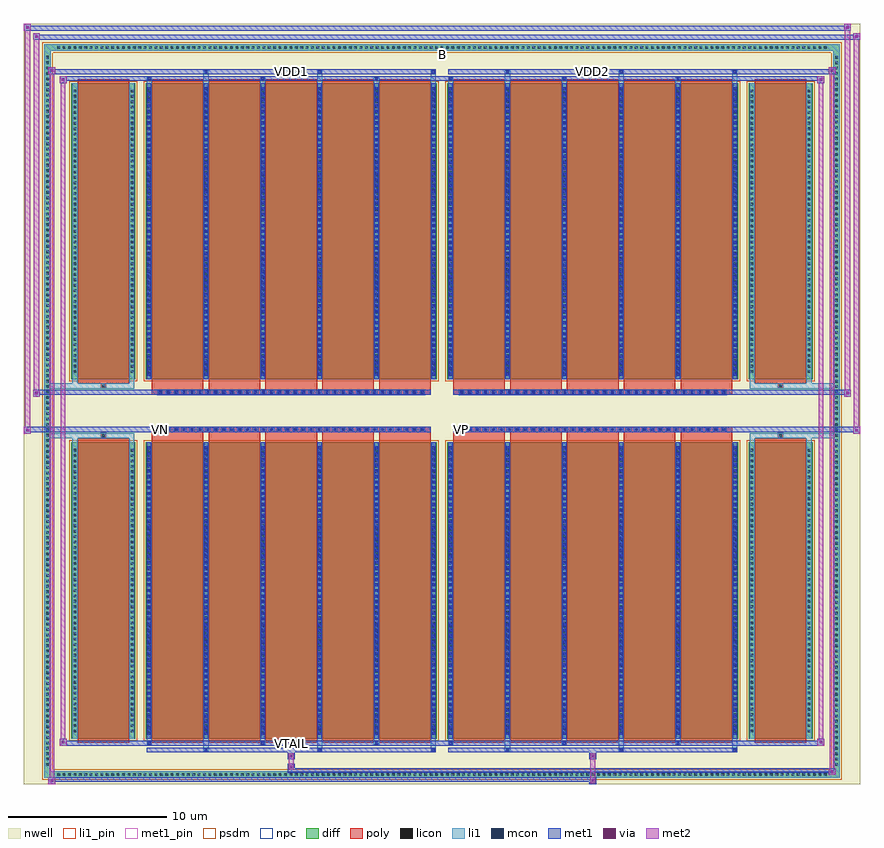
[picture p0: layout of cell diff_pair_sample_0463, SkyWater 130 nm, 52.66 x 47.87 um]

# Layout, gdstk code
import gdstk
lib = gdstk.Library(unit=1e-6, precision=5e-09)
def R(c, l, rs):  # rectangles x0, y0, x1, y1
    for r in rs: c.add(gdstk.rectangle(r[:2], r[2:], *l))
def A(c, l, x, y, w, h, nx, ny, dx, dy):  # array of equal rectangles
    R(c, l, [(x+i*dx, y+j*dy, x+i*dx+w, y+j*dy+h) for i in range(nx) for j in range(ny)])
def P(c, l, *ps):  # polygons
    for p in ps: c.add(gdstk.Polygon(p, *l))
nwell = (64, 20)
diff = (65, 20)
poly = (66, 20)
licon = (66, 44)
li1_pin = (67, 16)
li1 = (67, 20)
mcon = (67, 44)
met1_pin = (68, 16)
met1 = (68, 20)
via = (68, 44)
met2 = (69, 20)
psdm = (94, 20)
npc = (95, 20)

diff_pair_sample_0463 = lib.new_cell('diff_pair_sample_0463')
R(diff_pair_sample_0463, nwell, [(-26.33,-23.5,26.33,24.37), (-23.65,-21.69,-0.01,-0.805), (0.01,-21.69,23.65,-0.805), (-23.65,0.805,-0.01,21.69), (0.01,0.805,23.65,21.69)])
A(diff_pair_sample_0463, diff, -24.345, -23.1, 0.41, 0.41, 143, 2, 0.34, 45.79)
A(diff_pair_sample_0463, diff, -25.06, -22.475, 0.41, 0.41, 1, 132, 0, 0.34)
A(diff_pair_sample_0463, diff, 24.65, -22.475, 0.41, 0.41, 1, 132, 0, 0.34)
R(diff_pair_sample_0463, diff, [(-24.345,-23.1,24.345,-22.69), (-25.06,-22.475,-24.65,22.475), (24.65,-22.475,25.06,22.475), (-23.34,-20.645,-19.31,-1.985), (-18.67,-20.645,-0.32,-1.985), (0.32,-20.645,18.67,-1.985), (19.31,-20.645,23.34,-1.985), (-23.34,1.985,-19.31,20.645), (-18.67,1.985,-0.32,20.645), (0.32,1.985,18.67,20.645), (19.31,1.985,23.34,20.645), (-24.345,22.69,24.345,23.1)])
P(diff_pair_sample_0463, diff, [(25.06,23.1),(-25.06,23.1),(-25.06,-22.69),(-24.65,-22.69),(-24.65,22.69),(24.65,22.69),(24.65,-22.69),(-24.65,-22.69),(-25.06,-22.69),(-25.06,-23.1),(25.06,-23.1)])
A(diff_pair_sample_0463, poly, -18.28, -20.895, 3.25, 19.16, 5, 2, 3.58, 22.63)
A(diff_pair_sample_0463, poly, 0.71, -20.895, 3.25, 19.16, 5, 2, 3.58, 22.63)
A(diff_pair_sample_0463, poly, -18.28, -1.735, 3.25, 0.4, 5, 2, 3.58, 3.07)
A(diff_pair_sample_0463, poly, 0.71, -1.735, 3.25, 0.4, 5, 2, 3.58, 3.07)
A(diff_pair_sample_0463, poly, -17.91, -1.335, 0.33, 0.33, 34, 2, 0.5, 2.34)
A(diff_pair_sample_0463, poly, 1.08, -1.335, 0.33, 0.33, 34, 2, 0.5, 2.34)
R(diff_pair_sample_0463, poly, [(-22.95,-20.895,-19.7,-1.735), (19.7,-20.895,22.95,-1.735), (-21.49,-1.735,-21.16,-1.405), (-21.49,-1.735,-21.16,-1.405), (21.16,-1.735,21.49,-1.405), (21.16,-1.735,21.49,-1.405), (-18.28,-1.335,-0.71,-1.005), (0.71,-1.335,18.28,-1.005), (-18.28,1.005,-0.71,1.335), (0.71,1.005,18.28,1.335), (-21.49,1.405,-21.16,1.735), (-21.49,1.405,-21.16,1.735), (21.16,1.405,21.49,1.735), (21.16,1.405,21.49,1.735), (-22.95,1.735,-19.7,20.895), (19.7,1.735,22.95,20.895)])
A(diff_pair_sample_0463, licon, -24.225, -22.98, 0.17, 0.17, 143, 2, 0.34, 45.79)
A(diff_pair_sample_0463, licon, -24.94, -22.355, 0.17, 0.17, 1, 132, 0, 0.34)
A(diff_pair_sample_0463, licon, 24.77, -22.355, 0.17, 0.17, 1, 132, 0, 0.34)
A(diff_pair_sample_0463, licon, -23.2, -20.24, 0.17, 0.17, 1, 53, 0, 0.34)
A(diff_pair_sample_0463, licon, -19.62, -20.24, 0.17, 0.17, 1, 53, 0, 0.34)
A(diff_pair_sample_0463, licon, -18.53, -20.24, 0.17, 0.17, 6, 53, 3.58, 0.34)
A(diff_pair_sample_0463, licon, 0.46, -20.24, 0.17, 0.17, 6, 53, 3.58, 0.34)
A(diff_pair_sample_0463, licon, 19.45, -20.24, 0.17, 0.17, 1, 53, 0, 0.34)
A(diff_pair_sample_0463, licon, 23.03, -20.24, 0.17, 0.17, 1, 53, 0, 0.34)
A(diff_pair_sample_0463, licon, -17.83, -1.255, 0.17, 0.17, 34, 2, 0.5, 2.34)
A(diff_pair_sample_0463, licon, 1.16, -1.255, 0.17, 0.17, 34, 2, 0.5, 2.34)
A(diff_pair_sample_0463, licon, -23.2, 2.39, 0.17, 0.17, 1, 53, 0, 0.34)
A(diff_pair_sample_0463, licon, -19.62, 2.39, 0.17, 0.17, 1, 53, 0, 0.34)
A(diff_pair_sample_0463, licon, -18.53, 2.39, 0.17, 0.17, 6, 53, 3.58, 0.34)
A(diff_pair_sample_0463, licon, 0.46, 2.39, 0.17, 0.17, 6, 53, 3.58, 0.34)
A(diff_pair_sample_0463, licon, 19.45, 2.39, 0.17, 0.17, 1, 53, 0, 0.34)
A(diff_pair_sample_0463, licon, 23.03, 2.39, 0.17, 0.17, 1, 53, 0, 0.34)
R(diff_pair_sample_0463, licon, [(-21.41,-1.655,-21.24,-1.485), (21.24,-1.655,21.41,-1.485), (-21.41,1.485,-21.24,1.655), (21.24,1.485,21.41,1.655)])
R(diff_pair_sample_0463, li1_pin, [(-0.25,22.19,0.25,22.69)])
A(diff_pair_sample_0463, li1, -24.305, -23.06, 0.33, 0.33, 143, 2, 0.34, 45.79)
A(diff_pair_sample_0463, li1, -25.02, -22.435, 0.33, 0.33, 1, 132, 0, 0.34)
A(diff_pair_sample_0463, li1, 24.69, -22.435, 0.33, 0.33, 1, 132, 0, 0.34)
A(diff_pair_sample_0463, li1, -15.03, -21.45, 0.33, 0.805, 3, 2, 7.16, 42.095)
A(diff_pair_sample_0463, li1, -14.95, -21.45, 0.17, 0.17, 3, 2, 7.16, 42.73)
A(diff_pair_sample_0463, li1, 3.96, -21.45, 0.33, 0.805, 3, 2, 7.16, 42.095)
A(diff_pair_sample_0463, li1, 4.04, -21.45, 0.17, 0.17, 3, 2, 7.16, 42.73)
A(diff_pair_sample_0463, li1, -18.61, -21.02, 0.33, 0.375, 3, 2, 7.16, 41.665)
A(diff_pair_sample_0463, li1, -18.53, -21.02, 0.17, 0.17, 3, 2, 7.16, 41.87)
A(diff_pair_sample_0463, li1, 0.38, -21.02, 0.33, 0.375, 3, 2, 7.16, 41.665)
A(diff_pair_sample_0463, li1, 0.46, -21.02, 0.17, 0.17, 3, 2, 7.16, 41.87)
A(diff_pair_sample_0463, li1, -18.61, -20.645, 0.33, 18.66, 6, 2, 3.58, 22.63)
A(diff_pair_sample_0463, li1, 0.38, -20.645, 0.33, 18.66, 6, 2, 3.58, 22.63)
A(diff_pair_sample_0463, li1, -18.53, -20.4, 0.17, 0.17, 6, 51, 3.58, 0.36)
A(diff_pair_sample_0463, li1, -18.53, -20.4, 0.17, 18.17, 6, 2, 3.58, 22.63)
A(diff_pair_sample_0463, li1, 0.46, -20.4, 0.17, 0.17, 6, 51, 3.58, 0.36)
A(diff_pair_sample_0463, li1, 0.46, -20.4, 0.17, 18.17, 6, 2, 3.58, 22.63)
A(diff_pair_sample_0463, li1, -23.28, -20.32, 0.33, 0.33, 1, 53, 0, 0.34)
A(diff_pair_sample_0463, li1, -19.7, -20.32, 0.33, 0.33, 1, 53, 0, 0.34)
A(diff_pair_sample_0463, li1, -18.61, -20.32, 0.33, 0.33, 6, 53, 3.58, 0.34)
A(diff_pair_sample_0463, li1, 0.38, -20.32, 0.33, 0.33, 6, 53, 3.58, 0.34)
A(diff_pair_sample_0463, li1, 19.37, -20.32, 0.33, 0.33, 1, 53, 0, 0.34)
A(diff_pair_sample_0463, li1, 22.95, -20.32, 0.33, 0.33, 1, 53, 0, 0.34)
A(diff_pair_sample_0463, li1, -17.91, -1.335, 0.33, 0.33, 34, 2, 0.5, 2.34)
A(diff_pair_sample_0463, li1, 1.08, -1.335, 0.33, 0.33, 34, 2, 0.5, 2.34)
A(diff_pair_sample_0463, li1, -18.53, 2.23, 0.17, 0.17, 6, 51, 3.58, 0.36)
A(diff_pair_sample_0463, li1, 0.46, 2.23, 0.17, 0.17, 6, 51, 3.58, 0.36)
A(diff_pair_sample_0463, li1, -23.28, 2.31, 0.33, 0.33, 1, 53, 0, 0.34)
A(diff_pair_sample_0463, li1, -19.7, 2.31, 0.33, 0.33, 1, 53, 0, 0.34)
A(diff_pair_sample_0463, li1, -18.61, 2.31, 0.33, 0.33, 6, 53, 3.58, 0.34)
A(diff_pair_sample_0463, li1, 0.38, 2.31, 0.33, 0.33, 6, 53, 3.58, 0.34)
A(diff_pair_sample_0463, li1, 19.37, 2.31, 0.33, 0.33, 1, 53, 0, 0.34)
A(diff_pair_sample_0463, li1, 22.95, 2.31, 0.33, 0.33, 1, 53, 0, 0.34)
R(diff_pair_sample_0463, li1, [(-25.06,-23.1,-24.65,-22.69), (-25.06,-23.1,-24.65,-22.69), (-24.65,-23.1,24.65,-22.69), (24.65,-23.1,25.06,-22.69), (24.65,-23.1,25.06,-22.69), (-25.06,-22.69,-24.65,22.69), (24.65,-22.69,25.06,22.69), (-23.28,-20.645,-22.95,-1.985), (-19.7,-20.645,-19.37,-1.985), (19.37,-20.645,19.7,-1.985), (22.95,-20.645,23.28,-1.985), (-23.28,-1.985,-22.95,-1.405), (-19.7,-1.985,-19.37,-1.405), (19.37,-1.985,19.7,-1.405), (22.95,-1.985,23.28,-1.405), (-25.06,-1.735,-21.49,-1.405), (-23.28,-1.735,-21.49,-1.405), (-21.49,-1.735,-21.16,-1.405), (-21.16,-1.735,-19.37,-1.405), (19.37,-1.735,21.16,-1.405), (21.16,-1.735,21.49,-1.405), (21.16,-1.735,25.06,-1.405), (21.49,-1.735,23.28,-1.405), (-25.06,1.405,-21.49,1.735), (-23.28,1.405,-21.49,1.735), (-23.28,1.405,-22.95,1.985), (-21.49,1.405,-21.16,1.735), (-21.16,1.405,-19.37,1.735), (-19.7,1.405,-19.37,1.985), (19.37,1.405,21.16,1.735), (19.37,1.405,19.7,1.985), (21.16,1.405,21.49,1.735), (21.16,1.405,25.06,1.735), (21.49,1.405,23.28,1.735), (22.95,1.405,23.28,1.985), (-23.28,1.985,-22.95,20.645), (-19.7,1.985,-19.37,20.645), (19.37,1.985,19.7,20.645), (22.95,1.985,23.28,20.645), (-25.06,22.69,-24.65,23.1), (-25.06,22.69,-24.65,23.1), (-24.65,22.69,24.65,23.1), (24.65,22.69,25.06,23.1), (24.65,22.69,25.06,23.1)])
A(diff_pair_sample_0463, mcon, -14.95, -21.45, 0.17, 0.17, 3, 2, 7.16, 42.73)
A(diff_pair_sample_0463, mcon, 4.04, -21.45, 0.17, 0.17, 3, 2, 7.16, 42.73)
A(diff_pair_sample_0463, mcon, -18.53, -21.02, 0.17, 0.17, 3, 2, 7.16, 41.87)
A(diff_pair_sample_0463, mcon, 0.46, -21.02, 0.17, 0.17, 3, 2, 7.16, 41.87)
A(diff_pair_sample_0463, mcon, -18.53, -20.4, 0.17, 0.17, 6, 51, 3.58, 0.36)
A(diff_pair_sample_0463, mcon, 0.46, -20.4, 0.17, 0.17, 6, 51, 3.58, 0.36)
A(diff_pair_sample_0463, mcon, -17.83, -1.255, 0.17, 0.17, 34, 2, 0.5, 2.34)
A(diff_pair_sample_0463, mcon, 1.16, -1.255, 0.17, 0.17, 34, 2, 0.5, 2.34)
A(diff_pair_sample_0463, mcon, -18.53, 2.23, 0.17, 0.17, 6, 51, 3.58, 0.36)
A(diff_pair_sample_0463, mcon, 0.46, 2.23, 0.17, 0.17, 6, 51, 3.58, 0.36)
R(diff_pair_sample_0463, met1_pin, [(-9.63,-21.06,-9.36,-20.79), (-17.88,-1.295,-17.61,-1.025), (1.11,-1.295,1.38,-1.025), (-9.63,21.24,-9.36,21.51), (9.36,21.24,9.63,21.51)])
A(diff_pair_sample_0463, met1, -15.01, -21.51, 0.29, 0.29, 3, 2, 7.16, 42.73)
A(diff_pair_sample_0463, met1, 3.98, -21.51, 0.29, 0.29, 3, 2, 7.16, 42.73)
A(diff_pair_sample_0463, met1, -18.59, -21.08, 0.29, 0.29, 3, 2, 7.16, 41.87)
A(diff_pair_sample_0463, met1, 0.4, -21.08, 0.29, 0.29, 3, 2, 7.16, 41.87)
A(diff_pair_sample_0463, met1, -18.59, -20.645, 0.29, 18.66, 6, 2, 3.58, 22.63)
A(diff_pair_sample_0463, met1, 0.4, -20.645, 0.29, 18.66, 6, 2, 3.58, 22.63)
A(diff_pair_sample_0463, met1, -18.59, -20.46, 0.29, 0.29, 6, 51, 3.58, 0.36)
A(diff_pair_sample_0463, met1, 0.4, -20.46, 0.29, 0.29, 6, 51, 3.58, 0.36)
A(diff_pair_sample_0463, met1, -17.89, -1.315, 0.29, 0.29, 34, 2, 0.5, 2.34)
A(diff_pair_sample_0463, met1, 1.1, -1.315, 0.29, 0.29, 34, 2, 0.5, 2.34)
A(diff_pair_sample_0463, met1, -18.59, 2.17, 0.29, 0.29, 6, 51, 3.58, 0.36)
A(diff_pair_sample_0463, met1, 0.4, 2.17, 0.29, 0.29, 6, 51, 3.58, 0.36)
R(diff_pair_sample_0463, met1, [(-24.79,-23.5,-24.36,-23.07), (9.28,-23.5,9.71,-23.07), (-24.79,-23.36,9.71,-23.07), (24.36,-22.93,24.79,-22.5), (-9.71,-22.79,24.79,-22.5), (-9.71,-22.65,-9.28,-22.22), (-9.71,-21.94,-9.28,-21.51), (9.28,-21.94,9.71,-21.51), (-18.59,-21.51,-0.4,-21.22), (0.4,-21.51,18.59,-21.22), (-24.08,-21.08,-23.65,-20.65), (-24.08,-21.08,-18.59,-20.79), (-18.59,-21.08,-0.4,-20.79), (-0.4,-21.08,0.4,-20.79), (0.4,-21.08,18.59,-20.79), (18.59,-21.08,24.08,-20.79), (23.65,-21.08,24.08,-20.65), (-26.33,-1.435,-25.9,-1.005), (25.9,-1.435,26.33,-1.005), (-26.33,-1.335,-0.71,-1.005), (-18.28,-1.335,-0.71,-1.005), (0.71,-1.335,18.28,-1.005), (0.71,-1.335,26.33,-1.005), (-25.76,0.905,-25.33,1.335), (25.33,0.905,25.76,1.335), (-25.76,1.005,-18.28,1.335), (-18.28,1.005,-0.71,1.335), (0.71,1.005,18.28,1.335), (18.28,1.005,25.76,1.335), (-24.08,20.65,-23.65,21.08), (23.65,20.65,24.08,21.08), (-24.08,20.79,-18.59,21.08), (-18.59,20.79,-0.4,21.08), (-0.4,20.79,0.4,21.08), (0.4,20.79,18.59,21.08), (18.59,20.79,24.08,21.08), (-24.79,21.22,-24.36,21.65), (-24.79,21.22,-18.59,21.51), (-18.59,21.22,-0.4,21.51), (0.4,21.22,18.59,21.51), (18.59,21.22,24.79,21.51), (24.36,21.22,24.79,21.65), (-25.76,23.37,-25.33,23.8), (-25.76,23.37,-23.65,23.7), (-23.65,23.37,23.65,23.7), (23.65,23.37,26.33,23.7), (25.9,23.37,26.33,23.8), (-26.33,23.94,-25.9,24.37), (-26.33,23.94,-23.65,24.27), (-23.65,23.94,23.65,24.27), (23.65,23.94,25.76,24.27), (25.33,23.94,25.76,24.37)])
R(diff_pair_sample_0463, via, [(-24.65,-23.36,-24.5,-23.21), (9.42,-23.36,9.57,-23.21), (24.5,-22.79,24.65,-22.64), (-9.57,-22.51,-9.42,-22.36), (-9.57,-21.8,-9.42,-21.65), (9.42,-21.8,9.57,-21.65), (-23.94,-20.94,-23.79,-20.79), (23.79,-20.94,23.94,-20.79), (-26.19,-1.295,-26.04,-1.145), (26.04,-1.295,26.19,-1.145), (-25.62,1.045,-25.47,1.195), (25.47,1.045,25.62,1.195), (-23.94,20.79,-23.79,20.94), (23.79,20.79,23.94,20.94), (-24.65,21.36,-24.5,21.51), (24.5,21.36,24.65,21.51), (-25.62,23.51,-25.47,23.66), (26.04,23.51,26.19,23.66), (-26.19,24.08,-26.04,24.23), (25.47,24.08,25.62,24.23)])
R(diff_pair_sample_0463, met2, [(-24.79,-23.5,-24.36,-23.07), (-24.72,-23.5,-24.43,21.65), (-24.43,-23.5,-24.36,-23.07), (-24.74,-23.45,-24.41,-23.12), (9.33,-23.45,9.66,-23.12), (9.33,-23.12,9.66,-21.89), (24.36,-22.93,24.79,-22.5), (24.43,-22.93,24.72,21.65), (24.72,-22.93,24.79,-22.5), (24.41,-22.88,24.74,-22.55), (-9.66,-22.6,-9.33,-22.27), (-9.66,-22.27,-9.33,-21.89), (-9.66,-21.89,-9.33,-21.56), (9.33,-21.89,9.66,-21.56), (-24.08,-21.08,-23.65,-20.65), (-24.01,-21.08,-23.72,21.08), (-23.72,-21.08,-23.65,-20.65), (23.65,-21.08,24.08,-20.65), (23.72,-21.08,24.01,21.08), (24.01,-21.08,24.08,-20.65), (-24.03,-21.03,-23.7,-20.7), (23.7,-21.03,24.03,-20.7), (-26.33,-1.435,-25.9,-1.005), (-26.28,-1.435,-25.95,24.37), (-25.95,-1.435,-25.9,-1.005), (25.9,-1.435,26.33,-1.005), (25.95,-1.435,26.28,23.8), (26.28,-1.435,26.33,-1.005), (-26.28,-1.385,-25.95,-1.055), (25.95,-1.385,26.28,-1.055), (-25.76,0.905,-25.33,1.335), (-25.71,0.905,-25.38,23.8), (-25.38,0.905,-25.33,1.335), (25.33,0.905,25.76,1.335), (25.38,0.905,25.71,24.37), (25.71,0.905,25.76,1.335), (-25.71,0.955,-25.38,1.285), (25.38,0.955,25.71,1.285), (-24.08,20.65,-23.65,21.08), (-23.72,20.65,-23.65,21.08), (23.65,20.65,24.08,21.08), (24.01,20.65,24.08,21.08), (-24.03,20.7,-23.7,21.03), (23.7,20.7,24.03,21.03), (-24.79,21.22,-24.36,21.65), (-24.43,21.22,-24.36,21.65), (24.36,21.22,24.79,21.65), (24.72,21.22,24.79,21.65), (-24.74,21.27,-24.41,21.6), (24.41,21.27,24.74,21.6), (-25.76,23.37,-25.33,23.8), (-25.38,23.37,-25.33,23.8), (25.9,23.37,26.33,23.8), (26.28,23.37,26.33,23.8), (-25.71,23.42,-25.38,23.75), (25.95,23.42,26.28,23.75), (-26.33,23.94,-25.9,24.37), (-25.95,23.94,-25.9,24.37), (25.33,23.94,25.76,24.37), (25.71,23.94,25.76,24.37), (-26.28,23.99,-25.95,24.32), (25.38,23.99,25.71,24.32)])
R(diff_pair_sample_0463, psdm, [(-23.47,-20.775,-19.18,-1.855), (-18.8,-20.775,-0.19,-1.855), (0.19,-20.775,18.8,-1.855), (19.18,-20.775,23.47,-1.855), (-23.47,1.855,-19.18,20.775), (-18.8,1.855,-0.19,20.775), (0.19,1.855,18.8,20.775), (19.18,1.855,23.47,20.775)])
P(diff_pair_sample_0463, psdm, [(25.19,23.23),(-25.19,23.23),(-25.19,-22.56),(-24.52,-22.56),(-24.52,22.56),(24.52,22.56),(24.52,-22.56),(-24.52,-22.56),(-25.19,-22.56),(-25.19,-23.23),(25.19,-23.23)])
A(diff_pair_sample_0463, npc, -17.93, -1.355, 0.37, 0.37, 34, 2, 0.5, 2.34)
A(diff_pair_sample_0463, npc, 1.06, -1.355, 0.37, 0.37, 34, 2, 0.5, 2.34)
R(diff_pair_sample_0463, npc, [(-21.51,-1.755,-21.14,-1.385), (21.14,-1.755,21.51,-1.385), (-17.93,-1.355,-17.06,-0.985), (-17.93,-1.355,-17.06,-0.985), (-17.43,-1.355,-16.56,-0.985), (-17.43,-1.355,-16.56,-0.985), (-16.93,-1.355,-16.06,-0.985), (-16.93,-1.355,-16.06,-0.985), (-16.43,-1.355,-15.56,-0.985), (-16.43,-1.355,-15.56,-0.985), (-15.93,-1.355,-15.06,-0.985), (-15.93,-1.355,-15.06,-0.985), (-15.43,-1.355,-14.56,-0.985), (-15.43,-1.355,-14.56,-0.985), (-14.93,-1.355,-14.06,-0.985), (-14.93,-1.355,-14.06,-0.985), (-14.43,-1.355,-13.56,-0.985), (-14.43,-1.355,-13.56,-0.985), (-13.93,-1.355,-13.06,-0.985), (-13.93,-1.355,-13.06,-0.985), (-13.43,-1.355,-12.56,-0.985), (-13.43,-1.355,-12.56,-0.985), (-12.93,-1.355,-12.06,-0.985), (-12.93,-1.355,-12.06,-0.985), (-12.43,-1.355,-11.56,-0.985), (-12.43,-1.355,-11.56,-0.985), (-11.93,-1.355,-11.06,-0.985), (-11.93,-1.355,-11.06,-0.985), (-11.43,-1.355,-10.56,-0.985), (-11.43,-1.355,-10.56,-0.985), (-10.93,-1.355,-10.06,-0.985), (-10.93,-1.355,-10.06,-0.985), (-10.43,-1.355,-9.56,-0.985), (-10.43,-1.355,-9.56,-0.985), (-9.93,-1.355,-9.06,-0.985), (-9.93,-1.355,-9.06,-0.985), (-9.43,-1.355,-8.56,-0.985), (-9.43,-1.355,-8.56,-0.985), (-8.93,-1.355,-8.06,-0.985), (-8.93,-1.355,-8.06,-0.985), (-8.43,-1.355,-7.56,-0.985), (-8.43,-1.355,-7.56,-0.985), (-7.93,-1.355,-7.06,-0.985), (-7.93,-1.355,-7.06,-0.985), (-7.43,-1.355,-6.56,-0.985), (-7.43,-1.355,-6.56,-0.985), (-6.93,-1.355,-6.06,-0.985), (-6.93,-1.355,-6.06,-0.985), (-6.43,-1.355,-5.56,-0.985), (-6.43,-1.355,-5.56,-0.985), (-5.93,-1.355,-5.06,-0.985), (-5.93,-1.355,-5.06,-0.985), (-5.43,-1.355,-4.56,-0.985), (-5.43,-1.355,-4.56,-0.985), (-4.93,-1.355,-4.06,-0.985), (-4.93,-1.355,-4.06,-0.985), (-4.43,-1.355,-3.56,-0.985), (-4.43,-1.355,-3.56,-0.985), (-3.93,-1.355,-3.06,-0.985), (-3.93,-1.355,-3.06,-0.985), (-3.43,-1.355,-2.56,-0.985), (-3.43,-1.355,-2.56,-0.985), (-2.93,-1.355,-2.06,-0.985), (-2.93,-1.355,-2.06,-0.985), (-2.43,-1.355,-1.56,-0.985), (-2.43,-1.355,-1.56,-0.985), (-1.93,-1.355,-1.06,-0.985), (-1.93,-1.355,-1.06,-0.985), (1.06,-1.355,1.93,-0.985), (1.06,-1.355,1.93,-0.985), (1.56,-1.355,2.43,-0.985), (1.56,-1.355,2.43,-0.985), (2.06,-1.355,2.93,-0.985), (2.06,-1.355,2.93,-0.985), (2.56,-1.355,3.43,-0.985), (2.56,-1.355,3.43,-0.985), (3.06,-1.355,3.93,-0.985), (3.06,-1.355,3.93,-0.985), (3.56,-1.355,4.43,-0.985), (3.56,-1.355,4.43,-0.985), (4.06,-1.355,4.93,-0.985), (4.06,-1.355,4.93,-0.985), (4.56,-1.355,5.43,-0.985), (4.56,-1.355,5.43,-0.985), (5.06,-1.355,5.93,-0.985), (5.06,-1.355,5.93,-0.985), (5.56,-1.355,6.43,-0.985), (5.56,-1.355,6.43,-0.985), (6.06,-1.355,6.93,-0.985), (6.06,-1.355,6.93,-0.985), (6.56,-1.355,7.43,-0.985), (6.56,-1.355,7.43,-0.985), (7.06,-1.355,7.93,-0.985), (7.06,-1.355,7.93,-0.985), (7.56,-1.355,8.43,-0.985), (7.56,-1.355,8.43,-0.985), (8.06,-1.355,8.93,-0.985), (8.06,-1.355,8.93,-0.985), (8.56,-1.355,9.43,-0.985), (8.56,-1.355,9.43,-0.985), (9.06,-1.355,9.93,-0.985), (9.06,-1.355,9.93,-0.985), (9.56,-1.355,10.43,-0.985), (9.56,-1.355,10.43,-0.985), (10.06,-1.355,10.93,-0.985), (10.06,-1.355,10.93,-0.985), (10.56,-1.355,11.43,-0.985), (10.56,-1.355,11.43,-0.985), (11.06,-1.355,11.93,-0.985), (11.06,-1.355,11.93,-0.985), (11.56,-1.355,12.43,-0.985), (11.56,-1.355,12.43,-0.985), (12.06,-1.355,12.93,-0.985), (12.06,-1.355,12.93,-0.985), (12.56,-1.355,13.43,-0.985), (12.56,-1.355,13.43,-0.985), (13.06,-1.355,13.93,-0.985), (13.06,-1.355,13.93,-0.985), (13.56,-1.355,14.43,-0.985), (13.56,-1.355,14.43,-0.985), (14.06,-1.355,14.93,-0.985), (14.06,-1.355,14.93,-0.985), (14.56,-1.355,15.43,-0.985), (14.56,-1.355,15.43,-0.985), (15.06,-1.355,15.93,-0.985), (15.06,-1.355,15.93,-0.985), (15.56,-1.355,16.43,-0.985), (15.56,-1.355,16.43,-0.985), (16.06,-1.355,16.93,-0.985), (16.06,-1.355,16.93,-0.985), (16.56,-1.355,17.43,-0.985), (16.56,-1.355,17.43,-0.985), (17.06,-1.355,17.93,-0.985), (17.06,-1.355,17.93,-0.985), (-17.93,0.985,-17.06,1.355), (-17.93,0.985,-17.06,1.355), (-17.43,0.985,-16.56,1.355), (-17.43,0.985,-16.56,1.355), (-16.93,0.985,-16.06,1.355), (-16.93,0.985,-16.06,1.355), (-16.43,0.985,-15.56,1.355), (-16.43,0.985,-15.56,1.355), (-15.93,0.985,-15.06,1.355), (-15.93,0.985,-15.06,1.355), (-15.43,0.985,-14.56,1.355), (-15.43,0.985,-14.56,1.355), (-14.93,0.985,-14.06,1.355), (-14.93,0.985,-14.06,1.355), (-14.43,0.985,-13.56,1.355), (-14.43,0.985,-13.56,1.355), (-13.93,0.985,-13.06,1.355), (-13.93,0.985,-13.06,1.355), (-13.43,0.985,-12.56,1.355), (-13.43,0.985,-12.56,1.355), (-12.93,0.985,-12.06,1.355), (-12.93,0.985,-12.06,1.355), (-12.43,0.985,-11.56,1.355), (-12.43,0.985,-11.56,1.355), (-11.93,0.985,-11.06,1.355), (-11.93,0.985,-11.06,1.355), (-11.43,0.985,-10.56,1.355), (-11.43,0.985,-10.56,1.355), (-10.93,0.985,-10.06,1.355), (-10.93,0.985,-10.06,1.355), (-10.43,0.985,-9.56,1.355), (-10.43,0.985,-9.56,1.355), (-9.93,0.985,-9.06,1.355), (-9.93,0.985,-9.06,1.355), (-9.43,0.985,-8.56,1.355), (-9.43,0.985,-8.56,1.355), (-8.93,0.985,-8.06,1.355), (-8.93,0.985,-8.06,1.355), (-8.43,0.985,-7.56,1.355), (-8.43,0.985,-7.56,1.355), (-7.93,0.985,-7.06,1.355), (-7.93,0.985,-7.06,1.355), (-7.43,0.985,-6.56,1.355), (-7.43,0.985,-6.56,1.355), (-6.93,0.985,-6.06,1.355), (-6.93,0.985,-6.06,1.355), (-6.43,0.985,-5.56,1.355), (-6.43,0.985,-5.56,1.355), (-5.93,0.985,-5.06,1.355), (-5.93,0.985,-5.06,1.355), (-5.43,0.985,-4.56,1.355), (-5.43,0.985,-4.56,1.355), (-4.93,0.985,-4.06,1.355), (-4.93,0.985,-4.06,1.355), (-4.43,0.985,-3.56,1.355), (-4.43,0.985,-3.56,1.355), (-3.93,0.985,-3.06,1.355), (-3.93,0.985,-3.06,1.355), (-3.43,0.985,-2.56,1.355), (-3.43,0.985,-2.56,1.355), (-2.93,0.985,-2.06,1.355), (-2.93,0.985,-2.06,1.355), (-2.43,0.985,-1.56,1.355), (-2.43,0.985,-1.56,1.355), (-1.93,0.985,-1.06,1.355), (-1.93,0.985,-1.06,1.355), (1.06,0.985,1.93,1.355), (1.06,0.985,1.93,1.355), (1.56,0.985,2.43,1.355), (1.56,0.985,2.43,1.355), (2.06,0.985,2.93,1.355), (2.06,0.985,2.93,1.355), (2.56,0.985,3.43,1.355), (2.56,0.985,3.43,1.355), (3.06,0.985,3.93,1.355), (3.06,0.985,3.93,1.355), (3.56,0.985,4.43,1.355), (3.56,0.985,4.43,1.355), (4.06,0.985,4.93,1.355), (4.06,0.985,4.93,1.355), (4.56,0.985,5.43,1.355), (4.56,0.985,5.43,1.355), (5.06,0.985,5.93,1.355), (5.06,0.985,5.93,1.355), (5.56,0.985,6.43,1.355), (5.56,0.985,6.43,1.355), (6.06,0.985,6.93,1.355), (6.06,0.985,6.93,1.355), (6.56,0.985,7.43,1.355), (6.56,0.985,7.43,1.355), (7.06,0.985,7.93,1.355), (7.06,0.985,7.93,1.355), (7.56,0.985,8.43,1.355), (7.56,0.985,8.43,1.355), (8.06,0.985,8.93,1.355), (8.06,0.985,8.93,1.355), (8.56,0.985,9.43,1.355), (8.56,0.985,9.43,1.355), (9.06,0.985,9.93,1.355), (9.06,0.985,9.93,1.355), (9.56,0.985,10.43,1.355), (9.56,0.985,10.43,1.355), (10.06,0.985,10.93,1.355), (10.06,0.985,10.93,1.355), (10.56,0.985,11.43,1.355), (10.56,0.985,11.43,1.355), (11.06,0.985,11.93,1.355), (11.06,0.985,11.93,1.355), (11.56,0.985,12.43,1.355), (11.56,0.985,12.43,1.355), (12.06,0.985,12.93,1.355), (12.06,0.985,12.93,1.355), (12.56,0.985,13.43,1.355), (12.56,0.985,13.43,1.355), (13.06,0.985,13.93,1.355), (13.06,0.985,13.93,1.355), (13.56,0.985,14.43,1.355), (13.56,0.985,14.43,1.355), (14.06,0.985,14.93,1.355), (14.06,0.985,14.93,1.355), (14.56,0.985,15.43,1.355), (14.56,0.985,15.43,1.355), (15.06,0.985,15.93,1.355), (15.06,0.985,15.93,1.355), (15.56,0.985,16.43,1.355), (15.56,0.985,16.43,1.355), (16.06,0.985,16.93,1.355), (16.06,0.985,16.93,1.355), (16.56,0.985,17.43,1.355), (16.56,0.985,17.43,1.355), (17.06,0.985,17.93,1.355), (17.06,0.985,17.93,1.355), (-21.51,1.385,-21.14,1.755), (21.14,1.385,21.51,1.755)])
diff_pair_sample_0463.add(gdstk.Label('VTAIL', (-9.495,-20.925), layer=68, texttype=5))
diff_pair_sample_0463.add(gdstk.Label('VN', (-17.745,-1.16), layer=68, texttype=5))
diff_pair_sample_0463.add(gdstk.Label('VP', (1.245,-1.16), layer=68, texttype=5))
diff_pair_sample_0463.add(gdstk.Label('B', (0,22.44), layer=67, texttype=5))
diff_pair_sample_0463.add(gdstk.Label('VDD2', (9.495,21.375), layer=68, texttype=5))
diff_pair_sample_0463.add(gdstk.Label('VDD1', (-9.495,21.375), layer=68, texttype=5))

lib.write_gds('diff_pair_sample_0463.gds')
